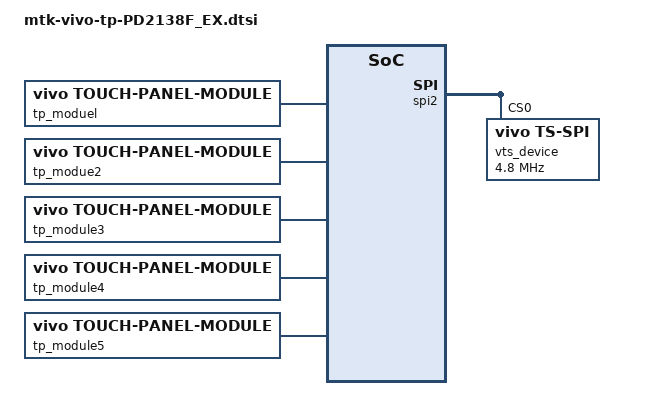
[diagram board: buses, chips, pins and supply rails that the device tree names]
/*********************touch screen config *************************/
&touchscreencfg { /* vivo ts configure */
		
	tp_moduel{
		compatible = "vivo,touch-panel-module";
		vts-ic-number=<82>;
		vts-type=<0>;
		vts-lcmid=<48>;//BOE NT36525  1211779  lcmid  0x30
		vts-dimention-x=<720>;
		vts-dimention-y=<1600>;
		vts-tx-sensors=<18>;
		vts-rx-sensors=<32>;
		vts-incell=<1>;
		vts-need-caliberation=<0>;
		vts-virtual-proximinity=<0>;
		vts-long-press=<0>;
		vts-module-vendor=<0xF0>;
		vts-no-flash=<1>;
		vts-input-method=<1>;
		//vts-sleep-time=<50>;
		};
	tp_modue2{
		compatible = "vivo,touch-panel-module";
		vts-ic-number=<110>;
		vts-type=<0>;
		vts-lcmid=<17>;//INCL 9911  1211780  lcmid  0x11
		vts-dimention-x=<720>;
		vts-dimention-y=<1600>;
		vts-tx-sensors=<18>;
		vts-rx-sensors=<32>;
		vts-incell=<1>;
		vts-need-caliberation=<0>;
		vts-virtual-proximinity=<0>;
		vts-long-press=<0>;
		vts-module-vendor=<0xF0>;
		vts-no-flash=<1>;
		//vts-sleep-time=<50>;
		vts-game-mode=<1>;
		vts-game-idle-time=<10>;
		vts-gesture=<1>;
		};
	tp_module3 {
		compatible = "vivo,touch-panel-module";
		vts-ic-number=<81>;
		vts-type=<0>;
		vts-lcmid=<19>; // CPD2117 INCELL TM XH SB NT36672C  1211772  lcmid  0x13
		vts-dimention-x=<1080>;
		vts-dimention-y=<2408>;
		vts-tx-sensors=<18>;
		vts-rx-sensors=<32>;
		vts-incell=<1>;
		vts-gesture=<1>;
		vts-need-caliberation=<0>;
		vts-virtual-proximinity=<0>;
		vts-long-press=<0>;
		vts-module-vendor=<0xF0>;
		vts-no-flash=<1>;
		vts-game-mode=<1>;
		vts-game-idle-time=<10>;
		vts-report-timestamp=<1>;
		vts-delay-avee=<200>;
	};
	tp_module4 {
		compatible = "vivo,touch-panel-module";
		vts-ic-number=<101>;
		vts-type=<0>;
		vts-lcmid=<49>; // CPD2117 INCELL BOE HX83112F  1211768  lcmid  0x31
		vts-dimention-x=<1080>;
		vts-dimention-y=<2408>;
		vts-tx-sensors=<18>;
		vts-rx-sensors=<36>;
		vts-incell=<1>;
		vts-gesture=<1>;
		vts-need-caliberation=<0>;
		vts-virtual-proximinity=<0>;
		vts-long-press=<0>;
		vts-module-vendor=<0xD0>;
		vts-no-flash=<1>;
		vts-game-mode=<1>;
		vts-game-idle-time=<10>;
	};
	tp_module5 {
		compatible = "vivo,touch-panel-module";
		vts-ic-number=<38>;
		vts-type=<0>;
		vts-dimention-x=<1080>;
		vts-dimention-y=<2408>;
		vts-tx-sensors=<16>;
		vts-rx-sensors=<36>;
		vts-incell=<1>;
		vts-gesture=<1>;
		vts-need-caliberation=<0>;
		vts-virtual-proximinity=<0>;
		vts-long-press=<0>;
		vts-module-vendor=<0xC0>;
		vts-no-flash=<1>;
		vts-game-mode=<1>;
		vts-game-idle-time=<10>;
		vts-report-timestamp=<1>;
		vts-lcmid=<130>; // CPD2117 INCELL 华星 FT8720	1211794 lcmid 0x82
		vts-no-flash-unique-code=<1>;
		//vts-set-blank=<1>;
	};
};


&pio {
	spi_driving_set_cfg:spi_driving_set { 
		pins_cmd_dat { 
			pinmux = <PINMUX_GPIO25__FUNC_SPI2_CSB>,
					<PINMUX_GPIO27__FUNC_SPI2_CLK>,
					<PINMUX_GPIO28__FUNC_SPI2_MI>,
					<PINMUX_GPIO26__FUNC_SPI2_MO>;
			drive-strength = <2>; //0:2mA 1:4mA 2:6mA 3:8mA 4:10mA 5:12mA 6:14mA 7:16mA
		}; 
	};		
};
&spi2 {
	#address-cells = <1>;
	#size-cells = <0>;	
	
	vts_device@0 {
		compatible = "vivo,ts-spi";
		status = "okay";
		reg=<0>;
		spi-max-frequency = <4800000>;
		pinctrl-names ="default";
		pinctrl-0 = <&spi_driving_set_cfg>;
		mediatek,kthread-rt = <1>;
		nt36525B {
			compatible = "novatek,NVT-ts-spi-v2";
			status = "ok";
		
			vts-type=<0>;
			vts-ic-number=<82>;
			spi-max-frequency = <9600000>;	//4800000,9600000,15000000,19200000
			//pinctrl-names = "spi_clk_active","spi_mosi_active";
			//pinctrl-0 = <&spi2_clk_set_cfg>;
			//novatek,reset-gpio = <&pio 23 0x00>;
			novatek,irq-gpio = <&pio 1 0x02>;
			sensor-test-key="com.nttouchscreen.mptest:MainActivity:android.intent.action.novatek:0:testResult";
			lcm-noise-test-key="com.nt36xxxtouchscreen.deltadiff:MainActivity:null:null:null";
			rawdata-test-key="com.nttouchscreen.getdata:MainActivity:null:null:null";
			rf-noise-test-key="com.nt36xxxtouchscreen.deltadiff:BspTest:android.intent.action.nvtdeltadiff:0:testResult";
			
			/* 672 */
			//novatek,swrst-n8-addr = <0x01F01A>;

			/* 672A */
			novatek,swrst-n8-addr = <0x03F0FE>;
		};
		chipone {
			compatible = "chipone,cts_nl9911c_spi";
			status = "ok";
			vts-type=<0>;
			vts-ic-number=<110>;
			spi-max-frequency = <9600000>;	//4800000,9600000,15000000,19200000
			//interrupt-parent = <&msm_gpio>;
			//interrupts = <65 0x2008>;
			chipone,rst-gpio = <&pio 23 0x00>;
			chipone,irq-gpio = <&pio 1 0x02>;
			chipone,x-res = <720>;
			chipone,y-res = <1600>;
			sensor-test-key="com.touchscreen.chipone:MainActivity:android.intent.action.chipone:0:testResult";
			rawdata-test-key="com.touchscreen.chipone.icnl9911c:DataShowActivity:null:null:null";
			lcm-noise-test-key="com.touchscreen.chipone.vivo_noise:NoiseActivity:null:null:null";
			rf-noise-test-key="com.touchscreen.chipone.vivo_noise:BspTestActivity:action_noise_test:0:result";
		};

		nt36672 {
			compatible = "novatek,NVT-ts-spi-v2";
			status = "ok";

			vts-type=<0>;
			vts-ic-number=<81>;
			spi-max-frequency = <9600000>;	//4800000,9600000,15000000,19200000
			novatek,reset-gpio = <&pio 23 0x00>;
			novatek,irq-gpio = <&pio 1 0x2001>;
			//novatek,cs-gpio = <&pio 25 0x00>;
			//novatek,miso-gpio = <&pio 28 0x00>;
			sensor-test-key="com.nttouchscreen.mptest:MainActivity:android.intent.action.novatek:0:testResult";
			lcm-noise-test-key="com.nt36xxxtouchscreen.deltadiff:MainActivity:null:null:null";
			rawdata-test-key="com.nttouchscreen.getdata:MainActivity:null:null:null";
			rf-noise-test-key="com.nt36xxxtouchscreen.deltadiff:BspTest:android.intent.action.nvtdeltadiff:0:testResult";

			novatek,swrst-n8-addr = <0x03F0FE>;
			//vts-incell-panel = <&dsi_nt36675_tm_fhdplus_video &dsi_ft8756_truly_fhdplus_video &dsi_nt36672c_tm657_dsc_fhdplus_video>;
		};

		hx83112 {
			compatible = "himax,hx83112-spi-v2";
			status = "ok";
			vts-type=<0>;
			vts-ic-number=<101>;
			spi-max-frequency = <9600000>;	//4800000,9600000,15000000,19200000
			himax,rst-gpio = <&pio 23 0x00>;
			himax,irq-gpio = <&pio 1 0x02>;
			himax,panel-coords = <0 1080 0 2408>;
			himax,display-coords = <0 1080 0 2408>;
			himax,tx-sensors = <18>;
			himax,rx-sensors = <36>;

			sensor-test-key="com.himax.mpap:MainActivity:android.intent.action.himax:0:testResult";
			lcm-noise-test-key="com.ln2.himaxtouch:RawdataRecord.HoppingNoiseGet:null:null:null";
			rawdata-test-key="com.ln2.himaxtouch:DataShowActivity:null:null:null";
			rf-noise-test-key="com.ln2.himaxtouch:BspTestActivity:android.intent.action.himax:0:testResult";
		};

		ft8720 {
			compatible = "focaltech,ft8756_v2";
			vts-type=<0>;
			vts-ic-number=<38>;
			spi-max-frequency = <6000000>;	//4800000,9600000,15000000,19200000
			focaltech,ic_name = "ft8720";
			focaltech,reset-gpio = <&pio 23 0x00>;
			focaltech,irq-gpio = <&pio 1 0x02>;
			focaltech,cs-gpio = <&pio 25 0x00>;
			focaltech,max-touch-number = <10>;
			focaltech,display-coords = <0 0 1080 2408>;
			focaltech,vts-gesture-separate = <1>;
			focaltech,vts-reset-poweroff = <1>;
	
			sensor-test-key="com.focaltouchscreen.sensortest:MainActivity:com.focaltouchscreen.sensortest:0:focal_test_result";
			lcm-noise-test-key="com.focaltech.deltadiff:MainActivity:null:null:null";
			rawdata-test-key="com.focaltech.deltadiff:DataActivity:null:null:null";
			rf-noise-test-key="com.focaltech.deltadiff:BspTestActivity:com.focaltech.deltadiff:0:testResult";
			
			//vts-incell-panel = <&dsi_pd2073_dj_ft8720_dsc_fhd_120_video>;
		};	
	};
};
	
